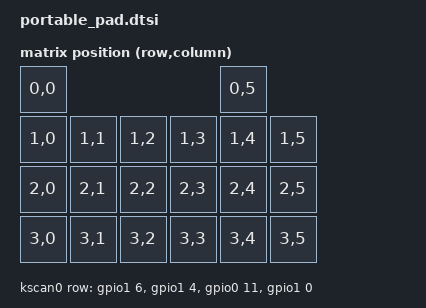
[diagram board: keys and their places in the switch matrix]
#include <dt-bindings/zmk/matrix_transform.h>

/ {
    chosen {
        zmk,kscan = &kscan0;
        zmk,matrix_transform = &default_transform;
    };

    default_transform: keymap_transform_0 {
        compatible = "zmk,matrix-transform";
        columns = <6>;
        rows = <4>;
//c :      0      1      2      3      4      5
//x :      0      1      2      3      4      5
//0     | MX1  |                           | MX2  |
//1     | MX3  | MX4  | MX5  | MX6  | MX7  | MX8  |
//2     | MX9  | MX10 | MX11 | MX12 | MX13 | MX14 |
//3     | MX15 | MX16 | MX17 | MX18 | MX19 | MX20 |

        map = <
        RC(0,0)                             RC(0,5)
        RC(1,0) RC(1,1) RC(1,2) RC(1,3) RC(1,4) RC(1,5)
        RC(2,0) RC(2,1) RC(2,2) RC(2,3) RC(2,4) RC(2,5)
        RC(3,0) RC(3,1) RC(3,2) RC(3,3) RC(3,4) RC(3,5)
        >;
    };

    kscan0: kscan {
        compatible = "zmk,kscan-gpio-matrix";
        label = "KSCAN";

        diode-direction = "col2row";
        row-gpios
            = <&gpio1 6  (GPIO_ACTIVE_HIGH | GPIO_PULL_DOWN)> // Row 0 from the schematic file
            , <&gpio1 4 (GPIO_ACTIVE_HIGH | GPIO_PULL_DOWN)> // Row 1 from the schematic file
            , <&gpio0 11 (GPIO_ACTIVE_HIGH | GPIO_PULL_DOWN)> // Row 2 from the schematic file
            , <&gpio1 0 (GPIO_ACTIVE_HIGH | GPIO_PULL_DOWN)> // Row 3 from the schematic file
            ;
    };
};
